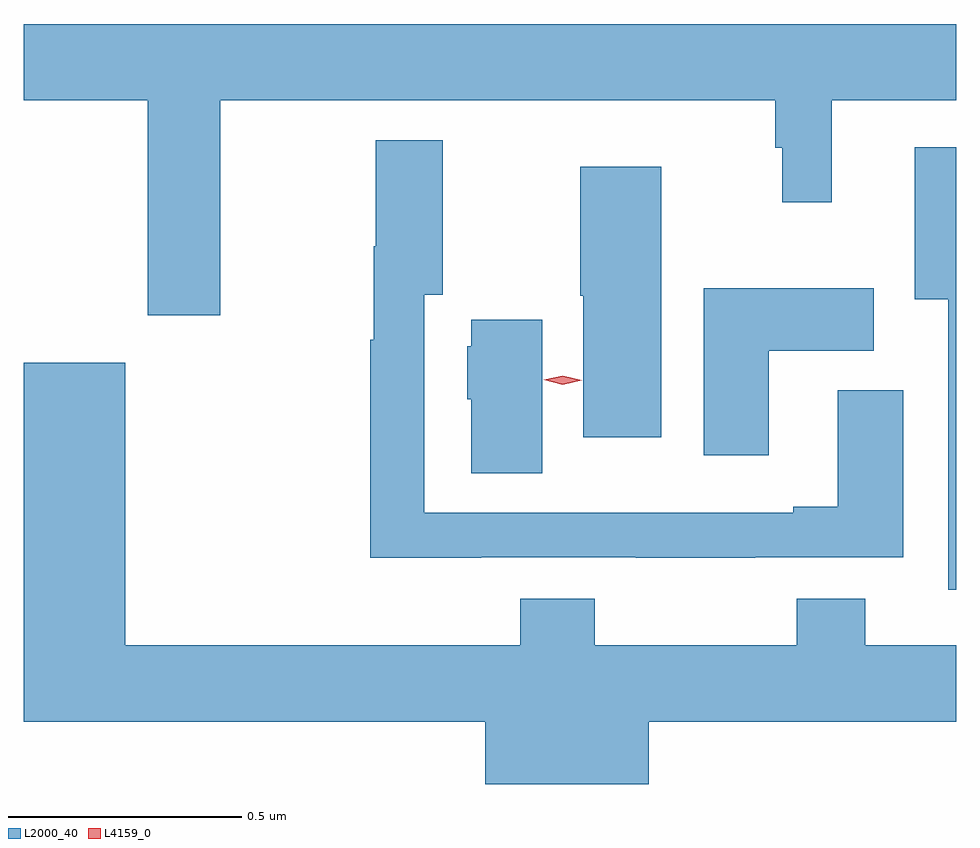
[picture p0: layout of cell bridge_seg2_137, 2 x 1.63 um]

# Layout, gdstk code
import gdstk
lib = gdstk.Library(unit=1e-6, precision=1e-09)
def P(c, l, *ps):  # polygons
    for p in ps: c.add(gdstk.Polygon(p, *l))
L2000_40 = (2000, 40)
L4159_0 = (4159, 0)

bridge_seg2_137 = lib.new_cell('bridge_seg2_137')
P(bridge_seg2_137, L2000_40, [(378.801,602.348),(379.992,602.348),(379.992,602.247),(380.007,602.247),(380.007,602.13),(380.113,602.13),(380.113,602.348),(380.38,602.348),(380.38,602.512),(378.38,602.512),(378.38,602.348),(378.646,602.348),(378.646,601.887),(378.801,601.887)],
  [(379.361,601.368),(379.693,601.368),(379.693,601.367),(379.949,601.367),(379.949,601.368),(380.266,601.368),(380.266,601.726),(380.126,601.726),(380.126,601.477),(380.03,601.477),(380.03,601.464),(379.239,601.464),(379.239,601.931),(379.279,601.931),(379.279,602.263),(379.135,602.263),(379.135,602.035),(379.131,602.035),(379.131,601.835),(379.123,601.835),(379.123,601.367),(379.361,601.367)],
  [(380.38,602.248),(380.291,602.248),(380.291,601.922),(380.363,601.922),(380.363,601.299),(380.38,601.299)],
  [(379.747,602.206),(379.574,602.206),(379.574,601.929),(379.58,601.929),(379.58,601.626),(379.747,601.626)],
  [(379.978,601.811),(380.203,601.811),(380.203,601.945),(379.838,601.945),(379.838,601.587),(379.978,601.587)],
  [(379.492,601.878),(379.34,601.878),(379.34,601.821),(379.331,601.821),(379.331,601.707),(379.34,601.707),(379.34,601.549),(379.492,601.549)],
  [(378.38,601.786),(378.38,601.016),(379.37,601.016),(379.37,600.882),(379.72,600.882),(379.72,601.016),(380.38,601.016),(380.38,601.18),(380.185,601.18),(380.185,601.279),(380.038,601.279),(380.038,601.18),(379.605,601.18),(379.605,601.279),(379.445,601.279),(379.445,601.18),(378.598,601.18),(378.598,601.786)])
P(bridge_seg2_137, L4159_0, [(379.536,601.738),(379.495,601.749),(379.495,601.749),(379.495,601.749),(379.536,601.758),(379.577,601.748),(379.577,601.748),(379.577,601.748)])

lib.write_gds('bridge_seg2_137.gds')
